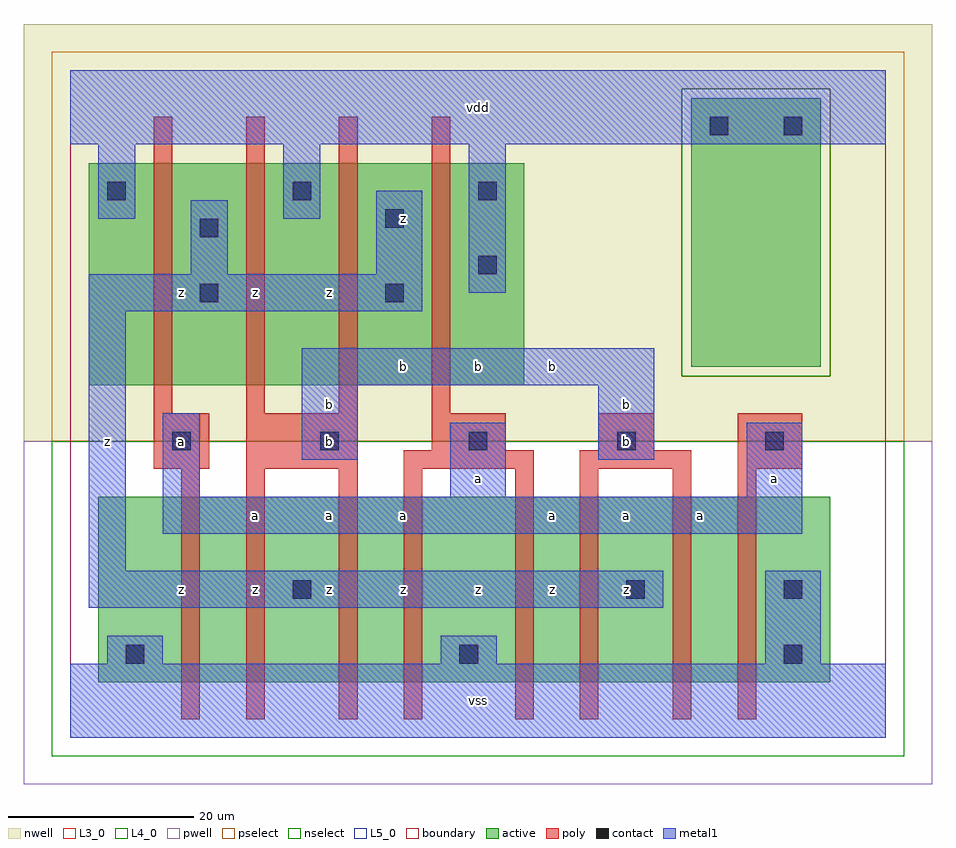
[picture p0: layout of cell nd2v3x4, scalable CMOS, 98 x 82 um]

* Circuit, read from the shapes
.subckt nd2v3x4 a b vdd vss z
M1 n1 a vss VSUBS nfet w=20u l=2u
M2 z b n1 VSUBS nfet w=20u l=2u
M3 n2 b z VSUBS nfet w=20u l=2u
M4 vss a n2 VSUBS nfet w=20u l=2u
M5 n3 a vss VSUBS nfet w=20u l=2u
M6 z b n3 VSUBS nfet w=20u l=2u
M7 n4 b z VSUBS nfet w=20u l=2u
M8 vss a n4 VSUBS nfet w=20u l=2u
M9 z a vdd vdd pfet w=24u l=2u m=2
M10 vdd b z vdd pfet w=24u l=2u m=2
.ends

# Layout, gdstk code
import gdstk
lib = gdstk.Library(unit=1e-6, precision=1e-09)
def R(c, l, rs):  # rectangles x0, y0, x1, y1
    for r in rs: c.add(gdstk.rectangle(r[:2], r[2:], *l))
def A(c, l, x, y, w, h, nx, ny, dx, dy):  # array of equal rectangles
    R(c, l, [(x+i*dx, y+j*dy, x+i*dx+w, y+j*dy+h) for i in range(nx) for j in range(ny)])
L3_0 = (3, 0)
L4_0 = (4, 0)
L5_0 = (5, 0)
contact = (25, 0)
pwell = (41, 0)
nwell = (42, 0)
active = (43, 0)
pselect = (44, 0)
nselect = (45, 0)
poly = (46, 0)
metal1 = (49, 0)
boundary = (63, 0)

nd2v3x4 = lib.new_cell('nd2v3x4')
R(nd2v3x4, L3_0, [(3,6,82,26)])
R(nd2v3x4, L4_0, [(2,38,49,62)])
R(nd2v3x4, L5_0, [(67,40,81,69)])
A(nd2v3x4, contact, 11, 31, 2, 2, 5, 1, 16, 0)
A(nd2v3x4, contact, 4, 58, 2, 2, 3, 1, 20, 0)
R(nd2v3x4, contact, [(6,8,8,10), (42,8,44,10), (77,8,79,10), (24,15,26,17), (60,15,62,17), (77,15,79,17), (14,47,16,49), (34,47,36,49), (44,50,46,52), (14,54,16,56), (34,55,36,57), (69,65,71,67), (77,65,79,67)])
R(nd2v3x4, pwell, [(-5,-5,93,32)])
R(nd2v3x4, nwell, [(-5,32,93,77)])
R(nd2v3x4, active, [(3,6,82,26), (2,38,49,62), (67,40,81,69)])
R(nd2v3x4, pselect, [(-2,32,90,39), (-2,39,66,70), (82,39,90,70), (-2,70,90,74)])
R(nd2v3x4, nselect, [(-2,-2,90,32), (66,39,82,70)])
A(nd2v3x4, poly, 9, 35, 2, 32, 4, 1, 10, 0)
R(nd2v3x4, poly, [(12,2,14,29), (19,2,21,29), (29,2,31,29), (36,2,38,29), (48,2,50,29), (55,2,57,29), (65,2,67,29), (72,2,74,29), (9,29,15,35), (19,29,31,35), (36,29,50,31), (55,29,67,31), (72,29,79,35), (39,31,47,35), (57,31,63,35)])
R(nd2v3x4, metal1, [(0,0,88,8), (4,8,10,11), (40,8,46,11), (75,8,81,18), (2,14,64,18), (2,18,6,46), (10,22,79,26), (10,26,14,35), (41,26,47,34), (73,26,79,34), (25,30,31,38), (57,30,63,38), (25,38,63,42), (2,46,38,50), (43,48,47,64), (13,50,17,58), (33,50,38,59), (3,56,7,64), (23,56,27,64), (0,64,88,72)])
R(nd2v3x4, boundary, [(0,0,88,72)])
nd2v3x4.add(gdstk.Label('z', (12,16), layer=49, texttype=0))
nd2v3x4.add(gdstk.Label('a', (12,32), layer=49, texttype=0))
nd2v3x4.add(gdstk.Label('z', (4,32), layer=49, texttype=0))
nd2v3x4.add(gdstk.Label('z', (12,48), layer=49, texttype=0))
nd2v3x4.add(gdstk.Label('z', (20,16), layer=49, texttype=0))
nd2v3x4.add(gdstk.Label('z', (28,16), layer=49, texttype=0))
nd2v3x4.add(gdstk.Label('a', (20,24), layer=49, texttype=0))
nd2v3x4.add(gdstk.Label('a', (28,24), layer=49, texttype=0))
nd2v3x4.add(gdstk.Label('b', (28,32), layer=49, texttype=0))
nd2v3x4.add(gdstk.Label('b', (28,36), layer=49, texttype=0))
nd2v3x4.add(gdstk.Label('z', (20,48), layer=49, texttype=0))
nd2v3x4.add(gdstk.Label('z', (28,48), layer=49, texttype=0))
nd2v3x4.add(gdstk.Label('vss', (44,4), layer=49, texttype=0))
nd2v3x4.add(gdstk.Label('z', (44,16), layer=49, texttype=0))
nd2v3x4.add(gdstk.Label('z', (36,16), layer=49, texttype=0))
nd2v3x4.add(gdstk.Label('a', (36,24), layer=49, texttype=0))
nd2v3x4.add(gdstk.Label('a', (44,28), layer=49, texttype=0))
nd2v3x4.add(gdstk.Label('b', (36,40), layer=49, texttype=0))
nd2v3x4.add(gdstk.Label('b', (44,40), layer=49, texttype=0))
nd2v3x4.add(gdstk.Label('z', (36,56), layer=49, texttype=0))
nd2v3x4.add(gdstk.Label('vdd', (44,68), layer=49, texttype=0))
nd2v3x4.add(gdstk.Label('z', (60,16), layer=49, texttype=0))
nd2v3x4.add(gdstk.Label('z', (52,16), layer=49, texttype=0))
nd2v3x4.add(gdstk.Label('a', (52,24), layer=49, texttype=0))
nd2v3x4.add(gdstk.Label('a', (60,24), layer=49, texttype=0))
nd2v3x4.add(gdstk.Label('a', (68,24), layer=49, texttype=0))
nd2v3x4.add(gdstk.Label('b', (60,32), layer=49, texttype=0))
nd2v3x4.add(gdstk.Label('b', (52,40), layer=49, texttype=0))
nd2v3x4.add(gdstk.Label('b', (60,36), layer=49, texttype=0))
nd2v3x4.add(gdstk.Label('a', (76,28), layer=49, texttype=0))

lib.write_gds('nd2v3x4.gds')
